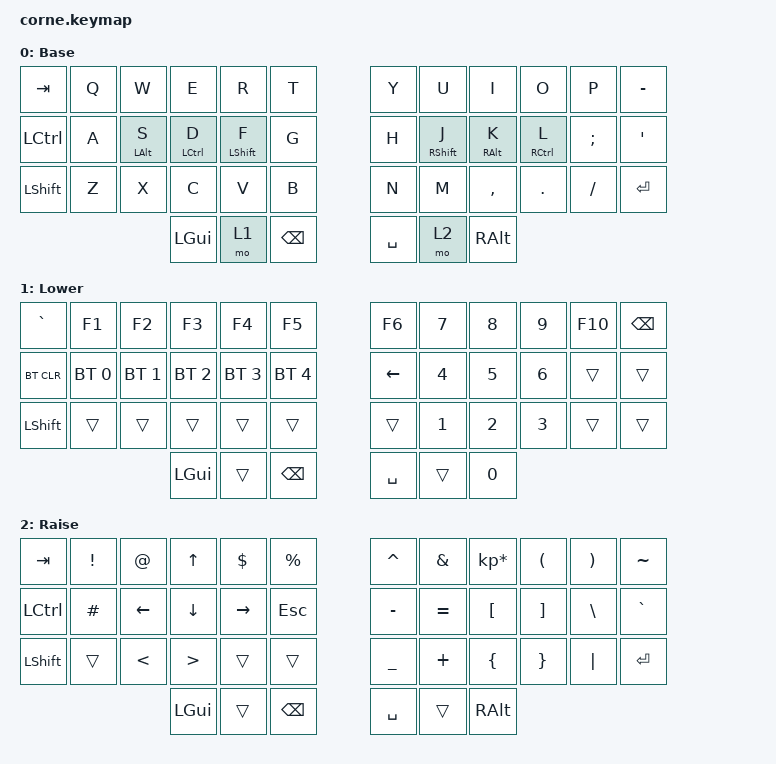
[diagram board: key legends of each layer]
/*
 * Copyright (c) 2020 The ZMK Contributors
 *
 * SPDX-License-Identifier: MIT
 */

#include <behaviors.dtsi>
#include <dt-bindings/zmk/keys.h>
#include <dt-bindings/zmk/bt.h>

/ {
        keymap {
                compatible = "zmk,keymap";

                default_layer {
// -----------------------------------------------------------------------------------------
// |  TAB |  Q  |  W  |  E  |  R  |  T  |   |  Y  |  U   |  I  |  O  |  P  | - |
// | CTRL |  A  |  S  |  D  |  F  |  G  |   |  H  |  J   |  K  |  L  |  ;  |  '   |
// | SHFT |  Z  |  X  |  C  |  V  |  B  |   |  N  |  M   |  ,  |  .  |  /  | ENTER  |
//                    | GUI | LWR | BKSP |   | SPC | RSE  | ALT |
                        label = "Base";
                        bindings = <
   &kp TAB   &kp Q &kp W &kp E &kp R &kp T   &kp Y &kp U  &kp I     &kp O   &kp P    &kp MINUS
   &kp LCTRL &kp A &mt LALT S &mt LCTRL D &mt LSHIFT F &kp G   &kp H &mt RSHIFT J  &mt RALT K     &mt RCTRL L   &kp SEMI &kp SQT
   &kp LSHFT &kp Z &kp X &kp C &kp V &kp B   &kp N &kp M  &kp COMMA &kp DOT &kp FSLH &kp ENTER
                  &kp LGUI &mo 1 &kp BSPC   &kp SPACE &mo 2 &kp RALT
                        >;
                };
                lower_layer {
// -----------------------------------------------------------------------------------------
// |  ~ |  F1  |  F2  |  F3  |  F4  |  F5  |   |  F6 |  7  |  8  |  9  |  F10  | BKSP |
// | BTCLR| BT1 | BT2 | BT3 | BT4 | BT5 |      | LFT |  4  |  5  |  6  |     |      |
// | SHFT |     |     |     |     |     |      |     |  1  |  2  |  3  |     |      |
//                    | GUI |     | BKSP |      | SPC |     | 0 |
                        label = "Lower";
                        bindings = <
   &kp GRAVE    &kp F1      &kp F2       &kp F3       &kp F4       &kp F5         &kp F6   &kp N7   &kp N8 &kp N9    &kp F10 &kp BSPC
   &bt BT_CLR &bt BT_SEL 0 &bt BT_SEL 1 &bt BT_SEL 2 &bt BT_SEL 3 &bt BT_SEL 4   &kp LEFT &kp N4 &kp N5 &kp N6 &trans &trans
   &kp LSHFT  &trans       &trans       &trans       &trans       &trans         &trans   &kp N1   &kp N2 &kp N3    &trans &trans
                          	        &kp LGUI     &trans       &kp BKSP      &kp SPC  &trans   &kp N0
                        >;
                };

                raise_layer {
// -----------------------------------------------------------------------------------------
// |  TAB |  !  |  @  |  UP |  $  |  %  |   |  ^  |  &  |  *  |  (  |  )  | ~ |
// | CTRL |  #  | LFT | DWN | RT  | ESC |   |  -  |  =  |  [  |  ]  |  \  |  `   |
// | SHFT |     |  <  |  >  |     |     |   |  _  |  +  |  {  |  }  | "|" |  ENTER   |
//                    | GUI |     | BKSP |   | SPC |     | ALT |
                        label = "Raise";
                        bindings = <
   &kp  TAB  &kp EXCL &kp AT   &kp UP     &kp DLLR &kp PRCNT      &kp CARET &kp AMPS  &kp KP_MULTIPLY &kp LPAR &kp RPAR &kp TILDE
   &kp LCTRL &kp HASH &kp LEFT &kp DOWN   &kp RIGHT   &kp ESCAPE  &kp MINUS &kp EQUAL &kp LBKT        &kp RBKT &kp BSLH &kp GRAVE
   &kp LSHFT &trans   &kp LT &kp GT   &trans   &trans             &kp UNDER &kp PLUS  &kp LBRC        &kp RBRC &kp PIPE &kp ENTER
                    	     &kp LGUI &trans   &kp BKSP           &kp SPC   &trans    &kp RALT
                        >;
                };
        };
};
